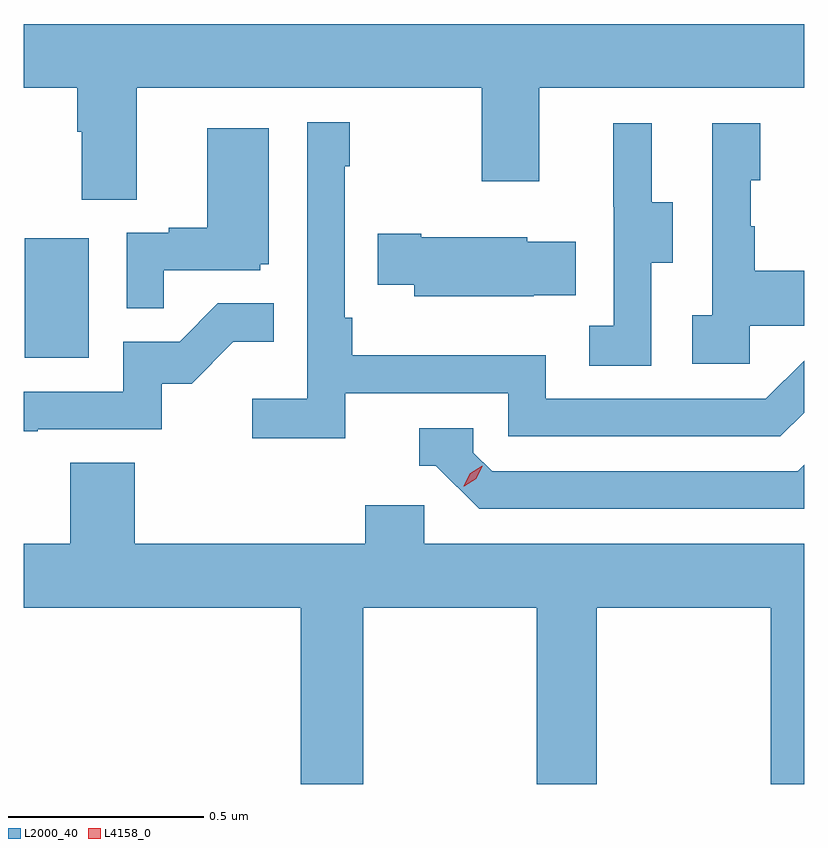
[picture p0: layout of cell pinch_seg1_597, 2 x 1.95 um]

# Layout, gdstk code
import gdstk
lib = gdstk.Library(unit=1e-6, precision=1e-09)
def R(c, l, rs):  # rectangles x0, y0, x1, y1
    for r in rs: c.add(gdstk.rectangle(r[:2], r[2:], *l))
def P(c, l, *ps):  # polygons
    for p in ps: c.add(gdstk.Polygon(p, *l))
L2000_40 = (2000, 40)
L4158_0 = (4158, 0)

pinch_seg1_597 = lib.new_cell('pinch_seg1_597')
R(pinch_seg1_597, L2000_40, [(1035.338,504.42,1035.502,504.727)])
P(pinch_seg1_597, L2000_40, [(1035.625,505.112),(1036.51,505.112),(1036.51,504.873),(1036.657,504.873),(1036.657,505.112),(1037.336,505.112),(1037.336,505.276),(1035.336,505.276),(1035.336,505.112),(1035.473,505.112),(1035.473,505),(1035.485,505),(1035.485,504.826),(1035.625,504.826)],
  [(1036.16,504.33),(1036.578,504.33),(1036.578,504.219),(1037.275,504.219),(1037.336,504.28),(1037.336,504.413),(1037.238,504.315),(1036.674,504.315),(1036.674,504.427),(1036.178,504.427),(1036.178,504.523),(1036.158,504.523),(1036.158,504.911),(1036.171,504.911),(1036.171,505.024),(1036.062,505.024),(1036.062,504.316),(1035.921,504.316),(1035.921,504.214),(1036.16,504.214)],
  [(1037.196,504.503),(1037.336,504.503),(1037.336,504.643),(1037.209,504.643),(1037.209,504.758),(1037.199,504.758),(1037.199,504.876),(1037.224,504.876),(1037.224,505.021),(1037.1,505.021),(1037.1,504.53),(1037.049,504.53),(1037.049,504.405),(1037.196,504.405)],
  [(1036.944,504.664),(1036.999,504.664),(1036.999,504.819),(1036.945,504.819),(1036.945,505.021),(1036.847,505.021),(1036.847,504.807),(1036.848,504.807),(1036.848,504.503),(1036.785,504.503),(1036.785,504.4),(1036.944,504.4)],
  [(1035.695,504.645),(1035.942,504.645),(1035.942,504.66),(1035.964,504.66),(1035.964,505.009),(1035.806,505.009),(1035.806,504.754),(1035.707,504.754),(1035.707,504.741),(1035.6,504.741),(1035.6,504.547),(1035.695,504.547)],
  [(1036.643,504.581),(1036.751,504.581),(1036.751,504.718),(1036.626,504.718),(1036.626,504.73),(1036.354,504.73),(1036.354,504.738),(1036.243,504.738),(1036.243,504.608),(1036.337,504.608),(1036.337,504.578),(1036.643,504.578)],
  [(1035.371,504.237),(1035.69,504.237),(1035.69,504.354),(1035.766,504.354),(1035.873,504.461),(1035.977,504.461),(1035.977,504.56),(1035.833,504.56),(1035.735,504.462),(1035.591,504.462),(1035.591,504.333),(1035.336,504.333),(1035.336,504.232),(1035.371,504.232)],
  [(1037.336,504.146),(1037.319,504.129),(1036.536,504.129),(1036.488,504.177),(1036.488,504.24),(1036.349,504.24),(1036.349,504.144),(1036.392,504.144),(1036.503,504.033),(1037.336,504.033)],
  [(1036.206,503.78),(1036.651,503.78),(1036.651,503.328),(1036.805,503.328),(1036.805,503.78),(1037.251,503.78),(1037.251,503.328),(1037.336,503.328),(1037.336,503.944),(1036.362,503.944),(1036.362,504.042),(1036.211,504.042),(1036.211,503.944),(1035.62,503.944),(1035.62,504.152),(1035.455,504.152),(1035.455,503.944),(1035.336,503.944),(1035.336,503.78),(1036.046,503.78),(1036.046,503.328),(1036.206,503.328)])
P(pinch_seg1_597, L4158_0, [(1036.464,504.091),(1036.464,504.092),(1036.48,504.124),(1036.511,504.144),(1036.511,504.144),(1036.511,504.143),(1036.495,504.111),(1036.465,504.091)])

lib.write_gds('pinch_seg1_597.gds')
